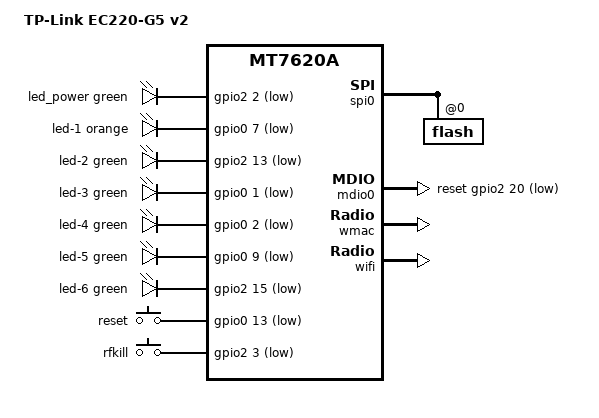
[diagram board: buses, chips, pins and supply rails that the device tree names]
// SPDX-License-Identifier: GPL-2.0-or-later OR MIT

#include <dt-bindings/leds/common.h>

#include "mt7620a_tplink_8m.dtsi"

/ {
	compatible = "tplink,ec220-g5-v2", "ralink,mt7620a-soc";
	model = "TP-Link EC220-G5 v2";

	aliases {
		led-boot = &led_power;
		led-failsafe = &led_power;
		led-running = &led_power;
		led-upgrade = &led_power;
		label-mac-device = &ethernet;
	};

	leds {
		compatible = "gpio-leds";

		led_power: led-0 {
			function = LED_FUNCTION_POWER;
			color = <LED_COLOR_ID_GREEN>;
			gpios = <&gpio2 2 GPIO_ACTIVE_LOW>;
		};

		led-1 {
			function = LED_FUNCTION_WAN;
			color = <LED_COLOR_ID_ORANGE>;
			gpios = <&gpio0 7 GPIO_ACTIVE_LOW>;
		};

		led-2 {
			function = LED_FUNCTION_WAN;
			color = <LED_COLOR_ID_GREEN>;
			gpios = <&gpio2 13 GPIO_ACTIVE_LOW>;
		};

		led-3 {
			function = LED_FUNCTION_LAN;
			color = <LED_COLOR_ID_GREEN>;
			gpios = <&gpio0 1 GPIO_ACTIVE_LOW>;
		};

		led-4 {
			function = LED_FUNCTION_WLAN_2GHZ;
			color = <LED_COLOR_ID_GREEN>;
			gpios = <&gpio0 2 GPIO_ACTIVE_LOW>;
			linux,default-trigger = "phy1tpt";
		};

		led-5 {
			function = LED_FUNCTION_WLAN_5GHZ;
			color = <LED_COLOR_ID_GREEN>;
			gpios = <&gpio0 9 GPIO_ACTIVE_LOW>;
			linux,default-trigger = "phy0tpt";
		};

		led-6 {
			function = LED_FUNCTION_WPS;
			color = <LED_COLOR_ID_GREEN>;
			gpios = <&gpio2 15 GPIO_ACTIVE_LOW>;
		};
	};

	keys {
		compatible = "gpio-keys";

		reset {
			label = "reset";
			gpios = <&gpio0 13 GPIO_ACTIVE_LOW>;
			linux,code = <KEY_RESTART>;
		};

		rfkill {
			label = "rfkill";
			gpios = <&gpio2 3 GPIO_ACTIVE_LOW>;
			linux,code = <KEY_RFKILL>;
		};
	};

	rtl8367s {
		compatible = "realtek,rtl8367b";
		realtek,extif = <7 1 0 1 1 1 1 1 1 2>;
		mii-bus = <&mdio0>;
		phy-id = <29>;
	};
};

&spi0 {
	flash@0 {
		#address-cells = <1>;
		#size-cells = <1>;
	};
};

&state_default {
	gpio {
		groups = "i2c", "uartf", "ephy", "rgmii2";
		function = "gpio";
	};
};

&ethernet {
	pinctrl-names = "default";
	pinctrl-0 = <&rgmii1_pins &mdio_pins>;

	port@5 {
		status = "okay";
		mediatek,fixed-link = <1000 1 1 1>;
		phy-mode = "rgmii";
	};

	mdio0: mdio-bus {
		status = "okay";
		reset-gpios = <&gpio2 20 GPIO_ACTIVE_LOW>;
		reset-delay-us = <10000>;
	};
};

&ehci {
	status = "disabled";
};

&ohci {
	status = "disabled";
};

&wmac {
	pinctrl-names = "default", "pa_gpio";
	pinctrl-0 = <&pa_pins>;
	pinctrl-1 = <&pa_gpio_pins>;

	nvmem-cells = <&eeprom_radio_0>, <&macaddr_rom_f100 0>;
	nvmem-cell-names = "eeprom", "mac-address";
};


&wifi {
	nvmem-cells = <&eeprom_radio_8000>, <&macaddr_rom_f100 2>;
	nvmem-cell-names = "eeprom", "mac-address";
};
